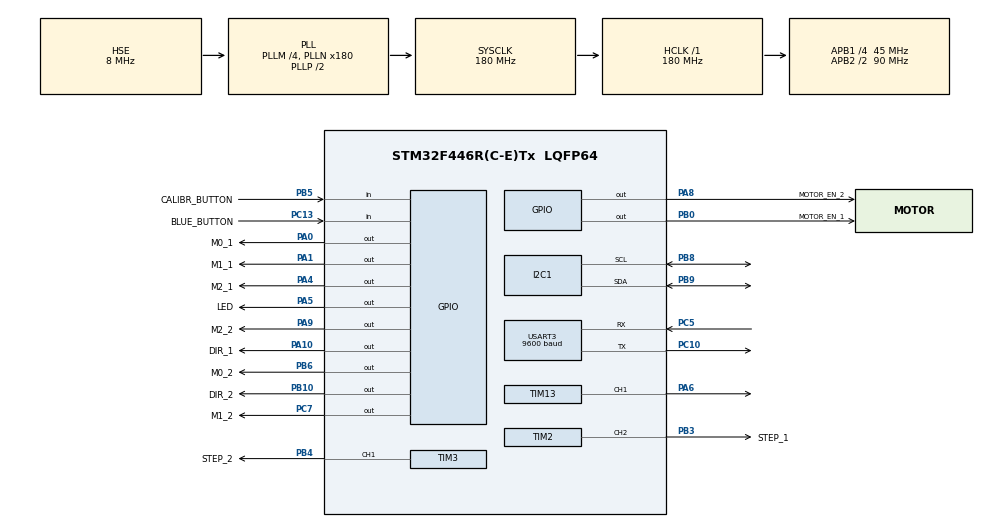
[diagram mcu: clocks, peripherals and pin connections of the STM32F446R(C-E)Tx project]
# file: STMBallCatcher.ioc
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Dma.Request0=USART3_RX
Dma.USART3_RX.0.Direction=DMA_PERIPH_TO_MEMORY
Dma.USART3_RX.0.FIFOMode=DMA_FIFOMODE_DISABLE
Dma.USART3_RX.0.Instance=DMA1_Stream1
Dma.USART3_RX.0.MemDataAlignment=DMA_MDATAALIGN_BYTE
Dma.USART3_RX.0.MemInc=DMA_MINC_ENABLE
Dma.USART3_RX.0.Mode=DMA_NORMAL
Dma.USART3_RX.0.PeriphDataAlignment=DMA_PDATAALIGN_BYTE
Dma.USART3_RX.0.PeriphInc=DMA_PINC_DISABLE
Dma.USART3_RX.0.Priority=DMA_PRIORITY_LOW
Mcu.Family=STM32F4
Mcu.Name=STM32F446R(C-E)Tx
Mcu.Package=LQFP64
Mcu.UserConstants=MOTOR_MAX_PERIOD_COUNTS,0xEFFF;MOTOR_MIN_PERIOD_COUNTS_X,0x2300;MOTOR_MIN_PERIOD_COUNTS_Y,0x4300;MOTOR_CUTSPEED_X,0x6300;MOTOR_CUTSPEED_Y,0x6300;MOTOR_KP_X,1;MOTOR_KI_X,0;MOTOR_KD_X,0;MOTOR_KP_Y,1;MOTOR_KI_Y,0;MOTOR_KD_Y,0;DUMM,0;DUMM2,0;DUMM3,0;SERVO_CLOSED,1800;SERVO_OPEN,3600
NVIC.DMA1_Stream1_IRQn=true\:0\:0\:false\:false\:true\:false
NVIC.PriorityGroup=NVIC_PRIORITYGROUP_4
NVIC.TIM2_IRQn=true\:3\:0\:true\:false\:false\:true
NVIC.TIM3_IRQn=true\:3\:0\:true\:false\:false\:true
NVIC.TIM8_TRG_COM_TIM14_IRQn=true\:3\:0\:true\:false\:false\:true
NVIC.TIM8_UP_TIM13_IRQn=true\:4\:0\:true\:false\:false\:true
NVIC.USART3_IRQn=true\:0\:0\:false\:false\:false\:true
PA0-WKUP.GPIO_Label=M0_1
PA0-WKUP.Signal=GPIO_Output
PA1.GPIO_Label=M1_1
PA1.Signal=GPIO_Output
PA10.GPIO_Label=DIR_1
PA10.Signal=GPIO_Output
PA13.Mode=Serial_Wire
PA13.Signal=SYS_JTMS-SWDIO
PA14.Mode=Serial_Wire
PA14.Signal=SYS_JTCK-SWCLK
PA4.GPIO_Label=M2_1
PA4.Signal=GPIO_Output
PA5.GPIO_Label=LED
PA5.Signal=GPIO_Output
PA6.Signal=S_TIM13_CH1
PA8.GPIO_Label=MOTOR_EN_2
PA8.Signal=GPIO_Output
PA9.GPIO_Label=M2_2
PA9.Signal=GPIO_Output
PB0.GPIO_Label=MOTOR_EN_1
PB0.Signal=GPIO_Output
PB10.GPIO_Label=DIR_2
PB10.Signal=GPIO_Output
PB3.GPIO_Label=STEP_1
PB3.GPIO_Speed=GPIO_SPEED_FREQ_VERY_HIGH
PB3.Signal=S_TIM2_CH2
PB4.GPIO_Label=STEP_2
PB4.GPIO_Speed=GPIO_SPEED_FREQ_HIGH
PB4.Signal=S_TIM3_CH1
PB5.GPIO_Label=CALIBR_BUTTON
PB5.GPIO_PuPd=GPIO_PULLUP
PB5.Signal=GPIO_Input
PB6.GPIO_Label=M0_2
PB6.Signal=GPIO_Output
PB8.Mode=I2C
PB8.Signal=I2C1_SCL
PB9.Mode=I2C
PB9.Signal=I2C1_SDA
PC10.Mode=Asynchronous
PC10.Signal=USART3_TX
PC13.GPIO_Label=BLUE_BUTTON
PC13.GPIO_PuPd=GPIO_PULLUP
PC13.Signal=GPIO_Input
PC5.Mode=Asynchronous
PC5.Signal=USART3_RX
PC7.GPIO_Label=M1_2
PC7.Signal=GPIO_Output
PH0-OSC_IN.Mode=HSE-External-Oscillator
PH0-OSC_IN.Signal=RCC_OSC_IN
PH1-OSC_OUT.Mode=HSE-External-Oscillator
PH1-OSC_OUT.Signal=RCC_OSC_OUT
ProjectManager.HeapSize=0x200
ProjectManager.StackSize=0x400
ProjectManager.TargetToolchain=SW4STM32
RCC.AHBFreq_Value=180000000
RCC.APB1CLKDivider=RCC_HCLK_DIV4
RCC.APB1Freq_Value=45000000
RCC.APB1TimFreq_Value=180000000
RCC.APB2CLKDivider=RCC_HCLK_DIV2
RCC.APB2Freq_Value=90000000
RCC.APB2TimFreq_Value=180000000
RCC.CortexFreq_Value=180000000
RCC.HCLKFreq_Value=180000000
RCC.HSE_VALUE=8000000
RCC.PLLM=4
RCC.PLLN=180
RCC.PLLSourceVirtual=RCC_PLLSOURCE_HSE
RCC.RCC_TIM_PRescaler_Selection=RCC_TIMPRES_ACTIVATED
RCC.SYSCLKFreq_VALUE=180000000
RCC.SYSCLKSource=RCC_SYSCLKSOURCE_PLLCLK
RCC.USBFreq_Value=180000000
RCC.VCOOutputFreq_Value=360000000
SH.S_TIM13_CH1.0=TIM13_CH1,PWM Generation1 CH1
SH.S_TIM2_CH2.0=TIM2_CH2,PWM Generation2 CH2
SH.S_TIM3_CH1.0=TIM3_CH1,PWM Generation1 CH1
TIM13.Channel=TIM_CHANNEL_1
TIM13.ClockDivision=TIM_CLOCKDIVISION_DIV4
TIM13.Period=36000
TIM13.Prescaler=24
TIM13.Pulse=1800
TIM14.Period=9000
TIM2.Channel-PWM\ Generation2\ CH2=TIM_CHANNEL_2
TIM2.Period=MOTOR_MAX_PERIOD_COUNTS
TIM2.Prescaler=0
TIM2.Pulse-PWM\ Generation2\ CH2=180
TIM3.Channel-PWM\ Generation1\ CH1=TIM_CHANNEL_1
TIM3.Period=MOTOR_MAX_PERIOD_COUNTS
TIM3.Pulse-PWM\ Generation1\ CH1=180
USART3.BaudRate=9600
USART3.Mode=MODE_RX
USART3.VirtualMode=VM_ASYNC
VP_TIM13_VS_ClockSourceINT.Mode=Enable_Timer
VP_TIM14_VS_ClockSourceINT.Mode=Enable_Timer
board=STMBallCatcher

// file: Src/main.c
/**
  ******************************************************************************
  * @file           : main.c
  * @brief          : Main program body
  ******************************************************************************
  ** This notice applies to any and all portions of this file
  * that are not between comment pairs USER CODE BEGIN and
  * USER CODE END. Other portions of this file, whether
  * inserted by the user or by software development tools
  * are owned by their respective copyright owners.
  *
  * COPYRIGHT(c) 2018 STMicroelectronics
  *
  * Redistribution and use in source and binary forms, with or without modification,
  * are permitted provided that the following conditions are met:
  *   1. Redistributions of source code must retain the above copyright notice,
  *      this list of conditions and the following disclaimer.
  *   2. Redistributions in binary form must reproduce the above copyright notice,
  *      this list of conditions and the following disclaimer in the documentation
  *      and/or other materials provided with the distribution.
  *   3. Neither the name of STMicroelectronics nor the names of its contributors
  *      may be used to endorse or promote products derived from this software
  *      without specific prior written permission.
  *
  * THIS SOFTWARE IS PROVIDED BY THE COPYRIGHT HOLDERS AND CONTRIBUTORS "AS IS"
  * AND ANY EXPRESS OR IMPLIED WARRANTIES, INCLUDING, BUT NOT LIMITED TO, THE
  * IMPLIED WARRANTIES OF MERCHANTABILITY AND FITNESS FOR A PARTICULAR PURPOSE ARE
  * DISCLAIMED. IN NO EVENT SHALL THE COPYRIGHT HOLDER OR CONTRIBUTORS BE LIABLE
  * FOR ANY DIRECT, INDIRECT, INCIDENTAL, SPECIAL, EXEMPLARY, OR CONSEQUENTIAL
  * DAMAGES (INCLUDING, BUT NOT LIMITED TO, PROCUREMENT OF SUBSTITUTE GOODS OR
  * SERVICES; LOSS OF USE, DATA, OR PROFITS; OR BUSINESS INTERRUPTION) HOWEVER
  * CAUSED AND ON ANY THEORY OF LIABILITY, WHETHER IN CONTRACT, STRICT LIABILITY,
  * OR TORT (INCLUDING NEGLIGENCE OR OTHERWISE) ARISING IN ANY WAY OUT OF THE USE
  * OF THIS SOFTWARE, EVEN IF ADVISED OF THE POSSIBILITY OF SUCH DAMAGE.
  *
  ******************************************************************************
  */
#include "main.h"
#include "stm32f4xx_hal.h"

/* USER CODE BEGIN Includes */
#include "ballCatcher.h"
#include "stepperControl.h"

//#define OS_USE_TRACE_SEMIHOSTING_DEBUG
/* USER CODE END Includes */

I2C_HandleTypeDef hi2c1;

TIM_HandleTypeDef htim2;
TIM_HandleTypeDef htim3;
TIM_HandleTypeDef htim13;
TIM_HandleTypeDef htim14;

UART_HandleTypeDef huart3;
DMA_HandleTypeDef hdma_usart3_rx;

/* USER CODE BEGIN PV */
/* Private variables ---------------------------------------------------------*/
extern stepper motorEjeCentral;
extern stepper motorEjeBasal;
//extern uint8_t rxBuffer[4];
//DMA_HandleTypeDef hdma_spi2_rx;
/* USER CODE END PV */

void SystemClock_Config(void);
static void MX_GPIO_Init(void);
static void MX_DMA_Init(void);
static void MX_TIM14_Init(void);
static void MX_TIM2_Init(void);
static void MX_TIM3_Init(void);
static void MX_TIM13_Init(void);
static void MX_I2C1_Init(void);
static void MX_USART3_UART_Init(void);

void HAL_TIM_MspPostInit(TIM_HandleTypeDef *htim);

/* USER CODE BEGIN PFP */
/* Private function prototypes -----------------------------------------------*/
#ifdef DEBUG
extern void initialise_monitor_handles(void);
#endif
/* USER CODE END PFP */

/* USER CODE BEGIN 0 */
void modprintf(const char* format, ...){
	#ifdef DEBUG
	va_list args;
	va_start(args, format);
	vprintf(format, args);
	va_end(args);
	#endif
}
/* USER CODE END 0 */

int main(void)
{

  /* MCU Configuration----------------------------------------------------------*/

  /* Reset of all peripherals, Initializes the Flash interface and the Systick. */
  HAL_Init();

  /* Configure the system clock */
  SystemClock_Config();

  /* Initialize all configured peripherals */
  MX_GPIO_Init();
  MX_DMA_Init();
  MX_TIM14_Init();
  MX_TIM2_Init();
  MX_TIM3_Init();
  MX_TIM13_Init();
  MX_I2C1_Init();
  MX_USART3_UART_Init();
  /* USER CODE BEGIN 2 */
  #ifdef DEBUG
  initialise_monitor_handles();
  #endif
  #ifdef MOTOR_DEBUG
  /*__HAL_TIM_SET_PRESCALER(&htim2,1000);
  __HAL_TIM_SET_PRESCALER(&htim3,1000);
  __HAL_TIM_SET_PRESCALER(&htim14,1000);
  __HAL_TIM_SET_PRESCALER(&htim13,1000);*/
  /*__HAL_TIM_SET_PRESCALER(&htim2,1);
    __HAL_TIM_SET_PRESCALER(&htim3,1);
    __HAL_TIM_SET_PRESCALER(&htim14,1);
    __HAL_TIM_SET_PRESCALER(&htim13,1);*/
  #endif
  initBallCatcher(&htim2, &htim3, &htim14, &htim13, &hi2c1, &huart3, &hdma_usart3_rx);
  /* USER CODE END 2 */

  /* Infinite loop */
  while (1)
  {

  /* USER CODE BEGIN 3 */
	  motorEjeBasal.targetPosition = 17000;
	  HAL_Delay(3000);
	  motorEjeBasal.targetPosition = 0;
	  HAL_Delay(3000);
  }
  /* USER CODE END 3 */

}

void SystemClock_Config(void)
{

  RCC_OscInitTypeDef RCC_OscInitStruct;
  RCC_ClkInitTypeDef RCC_ClkInitStruct;
  RCC_PeriphCLKInitTypeDef PeriphClkInitStruct;

    /**Configure the main internal regulator output voltage
    */
  __HAL_RCC_PWR_CLK_ENABLE();

  __HAL_PWR_VOLTAGESCALING_CONFIG(PWR_REGULATOR_VOLTAGE_SCALE1);

    /**Initializes the CPU, AHB and APB busses clocks
    */
  RCC_OscInitStruct.OscillatorType = RCC_OSCILLATORTYPE_HSE;
  RCC_OscInitStruct.HSEState = RCC_HSE_ON;
  RCC_OscInitStruct.PLL.PLLState = RCC_PLL_ON;
  RCC_OscInitStruct.PLL.PLLSource = RCC_PLLSOURCE_HSE;
  RCC_OscInitStruct.PLL.PLLM = 4;
  RCC_OscInitStruct.PLL.PLLN = 180;
  RCC_OscInitStruct.PLL.PLLP = RCC_PLLP_DIV2;
  RCC_OscInitStruct.PLL.PLLQ = 2;
  RCC_OscInitStruct.PLL.PLLR = 2;
  if (HAL_RCC_OscConfig(&RCC_OscInitStruct) != HAL_OK)
  {
    _Error_Handler(__FILE__, __LINE__);
  }

    /**Activate the Over-Drive mode
    */
  if (HAL_PWREx_EnableOverDrive() != HAL_OK)
  {
    _Error_Handler(__FILE__, __LINE__);
  }

    /**Initializes the CPU, AHB and APB busses clocks
    */
  RCC_ClkInitStruct.ClockType = RCC_CLOCKTYPE_HCLK|RCC_CLOCKTYPE_SYSCLK
                              |RCC_CLOCKTYPE_PCLK1|RCC_CLOCKTYPE_PCLK2;
  RCC_ClkInitStruct.SYSCLKSource = RCC_SYSCLKSOURCE_PLLCLK;
  RCC_ClkInitStruct.AHBCLKDivider = RCC_SYSCLK_DIV1;
  RCC_ClkInitStruct.APB1CLKDivider = RCC_HCLK_DIV4;
  RCC_ClkInitStruct.APB2CLKDivider = RCC_HCLK_DIV2;

  if (HAL_RCC_ClockConfig(&RCC_ClkInitStruct, FLASH_LATENCY_5) != HAL_OK)
  {
    _Error_Handler(__FILE__, __LINE__);
  }

  PeriphClkInitStruct.PeriphClockSelection = RCC_PERIPHCLK_TIM;
  PeriphClkInitStruct.TIMPresSelection = RCC_TIMPRES_ACTIVATED;
  if (HAL_RCCEx_PeriphCLKConfig(&PeriphClkInitStruct) != HAL_OK)
  {
    _Error_Handler(__FILE__, __LINE__);
  }

    /**Configure the Systick interrupt time
    */
  HAL_SYSTICK_Config(HAL_RCC_GetHCLKFreq()/1000);

    /**Configure the Systick
    */
  HAL_SYSTICK_CLKSourceConfig(SYSTICK_CLKSOURCE_HCLK);

  /* SysTick_IRQn interrupt configuration */
  HAL_NVIC_SetPriority(SysTick_IRQn, 0, 0);
}

/* I2C1 init function */
static void MX_I2C1_Init(void)
{

  hi2c1.Instance = I2C1;
  hi2c1.Init.ClockSpeed = 100000;
  hi2c1.Init.DutyCycle = I2C_DUTYCYCLE_2;
  hi2c1.Init.OwnAddress1 = 0;
  hi2c1.Init.AddressingMode = I2C_ADDRESSINGMODE_7BIT;
  hi2c1.Init.DualAddressMode = I2C_DUALADDRESS_DISABLE;
  hi2c1.Init.OwnAddress2 = 0;
  hi2c1.Init.GeneralCallMode = I2C_GENERALCALL_DISABLE;
  hi2c1.Init.NoStretchMode = I2C_NOSTRETCH_DISABLE;
  if (HAL_I2C_Init(&hi2c1) != HAL_OK)
  {
    _Error_Handler(__FILE__, __LINE__);
  }

}

/* TIM2 init function */
static void MX_TIM2_Init(void)
{

  TIM_MasterConfigTypeDef sMasterConfig;
  TIM_OC_InitTypeDef sConfigOC;

  htim2.Instance = TIM2;
  htim2.Init.Prescaler = 0;
  htim2.Init.CounterMode = TIM_COUNTERMODE_UP;
  htim2.Init.Period = MOTOR_MAX_PERIOD_COUNTS;
  htim2.Init.ClockDivision = TIM_CLOCKDIVISION_DIV1;
  if (HAL_TIM_PWM_Init(&htim2) != HAL_OK)
  {
    _Error_Handler(__FILE__, __LINE__);
  }

  sMasterConfig.MasterOutputTrigger = TIM_TRGO_RESET;
  sMasterConfig.MasterSlaveMode = TIM_MASTERSLAVEMODE_DISABLE;
  if (HAL_TIMEx_MasterConfigSynchronization(&htim2, &sMasterConfig) != HAL_OK)
  {
    _Error_Handler(__FILE__, __LINE__);
  }

  sConfigOC.OCMode = TIM_OCMODE_PWM1;
  sConfigOC.Pulse = 180;
  sConfigOC.OCPolarity = TIM_OCPOLARITY_HIGH;
  sConfigOC.OCFastMode = TIM_OCFAST_DISABLE;
  if (HAL_TIM_PWM_ConfigChannel(&htim2, &sConfigOC, TIM_CHANNEL_2) != HAL_OK)
  {
    _Error_Handler(__FILE__, __LINE__);
  }

  HAL_TIM_MspPostInit(&htim2);

}

/* TIM3 init function */
static void MX_TIM3_Init(void)
{

  TIM_MasterConfigTypeDef sMasterConfig;
  TIM_OC_InitTypeDef sConfigOC;

  htim3.Instance = TIM3;
  htim3.Init.Prescaler = 0;
  htim3.Init.CounterMode = TIM_COUNTERMODE_UP;
  htim3.Init.Period = MOTOR_MAX_PERIOD_COUNTS;
  htim3.Init.ClockDivision = TIM_CLOCKDIVISION_DIV1;
  if (HAL_TIM_PWM_Init(&htim3) != HAL_OK)
  {
    _Error_Handler(__FILE__, __LINE__);
  }

  sMasterConfig.MasterOutputTrigger = TIM_TRGO_RESET;
  sMasterConfig.MasterSlaveMode = TIM_MASTERSLAVEMODE_DISABLE;
  if (HAL_TIMEx_MasterConfigSynchronization(&htim3, &sMasterConfig) != HAL_OK)
  {
    _Error_Handler(__FILE__, __LINE__);
  }

  sConfigOC.OCMode = TIM_OCMODE_PWM1;
  sConfigOC.Pulse = 180;
  sConfigOC.OCPolarity = TIM_OCPOLARITY_HIGH;
  sConfigOC.OCFastMode = TIM_OCFAST_DISABLE;
  if (HAL_TIM_PWM_ConfigChannel(&htim3, &sConfigOC, TIM_CHANNEL_1) != HAL_OK)
  {
    _Error_Handler(__FILE__, __LINE__);
  }

  HAL_TIM_MspPostInit(&htim3);

}

/* TIM13 init function */
static void MX_TIM13_Init(void)
{

  TIM_OC_InitTypeDef sConfigOC;

  htim13.Instance = TIM13;
  htim13.Init.Prescaler = 24;
  htim13.Init.CounterMode = TIM_COUNTERMODE_UP;
  htim13.Init.Period = 36000;
  htim13.Init.ClockDivision = TIM_CLOCKDIVISION_DIV4;
  if (HAL_TIM_Base_Init(&htim13) != HAL_OK)
  {
    _Error_Handler(__FILE__, __LINE__);
  }

  if (HAL_TIM_PWM_Init(&htim13) != HAL_OK)
  {
    _Error_Handler(__FILE__, __LINE__);
  }

  sConfigOC.OCMode = TIM_OCMODE_PWM1;
  sConfigOC.Pulse = 1800;
  sConfigOC.OCPolarity = TIM_OCPOLARITY_HIGH;
  sConfigOC.OCFastMode = TIM_OCFAST_DISABLE;
  if (HAL_TIM_PWM_ConfigChannel(&htim13, &sConfigOC, TIM_CHANNEL_1) != HAL_OK)
  {
    _Error_Handler(__FILE__, __LINE__);
  }

  HAL_TIM_MspPostInit(&htim13);

}

/* TIM14 init function */
static void MX_TIM14_Init(void)
{

  htim14.Instance = TIM14;
  htim14.Init.Prescaler = 0;
  htim14.Init.CounterMode = TIM_COUNTERMODE_UP;
  htim14.Init.Period = 9000;
  htim14.Init.ClockDivision = TIM_CLOCKDIVISION_DIV1;
  if (HAL_TIM_Base_Init(&htim14) != HAL_OK)
  {
    _Error_Handler(__FILE__, __LINE__);
  }

}

/* USART3 init function */
static void MX_USART3_UART_Init(void)
{

  huart3.Instance = USART3;
  huart3.Init.BaudRate = 9600;
  huart3.Init.WordLength = UART_WORDLENGTH_8B;
  huart3.Init.StopBits = UART_STOPBITS_1;
  huart3.Init.Parity = UART_PARITY_NONE;
  huart3.Init.Mode = UART_MODE_RX;
  huart3.Init.HwFlowCtl = UART_HWCONTROL_NONE;
  huart3.Init.OverSampling = UART_OVERSAMPLING_16;
  if (HAL_UART_Init(&huart3) != HAL_OK)
  {
    _Error_Handler(__FILE__, __LINE__);
  }

}

static void MX_DMA_Init(void)
{
  /* DMA controller clock enable */
  __HAL_RCC_DMA1_CLK_ENABLE();

  /* DMA interrupt init */
  /* DMA1_Stream1_IRQn interrupt configuration */
  HAL_NVIC_SetPriority(DMA1_Stream1_IRQn, 0, 0);
  HAL_NVIC_EnableIRQ(DMA1_Stream1_IRQn);

}

/** Configure pins as
        * Analog
        * Input
        * Output
        * EVENT_OUT
        * EXTI
*/
static void MX_GPIO_Init(void)
{

  GPIO_InitTypeDef GPIO_InitStruct;

  /* GPIO Ports Clock Enable */
  __HAL_RCC_GPIOC_CLK_ENABLE();
  __HAL_RCC_GPIOH_CLK_ENABLE();
  __HAL_RCC_GPIOA_CLK_ENABLE();
  __HAL_RCC_GPIOB_CLK_ENABLE();

  /*Configure GPIO pin Output Level */
  HAL_GPIO_WritePin(GPIOA, M0_1_Pin|M1_1_Pin|M2_1_Pin|LED_Pin
                          |MOTOR_EN_2_Pin|M2_2_Pin|DIR_1_Pin, GPIO_PIN_RESET);

  /*Configure GPIO pin Output Level */
  HAL_GPIO_WritePin(GPIOB, MOTOR_EN_1_Pin|DIR_2_Pin|M0_2_Pin, GPIO_PIN_RESET);

  /*Configure GPIO pin Output Level */
  HAL_GPIO_WritePin(M1_2_GPIO_Port, M1_2_Pin, GPIO_PIN_RESET);

  /*Configure GPIO pin : BLUE_BUTTON_Pin */
  GPIO_InitStruct.Pin = BLUE_BUTTON_Pin;
  GPIO_InitStruct.Mode = GPIO_MODE_INPUT;
  GPIO_InitStruct.Pull = GPIO_PULLUP;
  HAL_GPIO_Init(BLUE_BUTTON_GPIO_Port, &GPIO_InitStruct);

  /*Configure GPIO pins : M0_1_Pin M1_1_Pin M2_1_Pin LED_Pin
                           MOTOR_EN_2_Pin M2_2_Pin DIR_1_Pin */
  GPIO_InitStruct.Pin = M0_1_Pin|M1_1_Pin|M2_1_Pin|LED_Pin
                          |MOTOR_EN_2_Pin|M2_2_Pin|DIR_1_Pin;
  GPIO_InitStruct.Mode = GPIO_MODE_OUTPUT_PP;
  GPIO_InitStruct.Pull = GPIO_NOPULL;
  GPIO_InitStruct.Speed = GPIO_SPEED_FREQ_LOW;
  HAL_GPIO_Init(GPIOA, &GPIO_InitStruct);

  /*Configure GPIO pins : MOTOR_EN_1_Pin DIR_2_Pin M0_2_Pin */
  GPIO_InitStruct.Pin = MOTOR_EN_1_Pin|DIR_2_Pin|M0_2_Pin;
  GPIO_InitStruct.Mode = GPIO_MODE_OUTPUT_PP;
  GPIO_InitStruct.Pull = GPIO_NOPULL;
  GPIO_InitStruct.Speed = GPIO_SPEED_FREQ_LOW;
  HAL_GPIO_Init(GPIOB, &GPIO_InitStruct);

  /*Configure GPIO pin : M1_2_Pin */
  GPIO_InitStruct.Pin = M1_2_Pin;
  GPIO_InitStruct.Mode = GPIO_MODE_OUTPUT_PP;
  GPIO_InitStruct.Pull = GPIO_NOPULL;
  GPIO_InitStruct.Speed = GPIO_SPEED_FREQ_LOW;
  HAL_GPIO_Init(M1_2_GPIO_Port, &GPIO_InitStruct);

  /*Configure GPIO pin : CALIBR_BUTTON_Pin */
  GPIO_InitStruct.Pin = CALIBR_BUTTON_Pin;
  GPIO_InitStruct.Mode = GPIO_MODE_INPUT;
  GPIO_InitStruct.Pull = GPIO_PULLUP;
  HAL_GPIO_Init(CALIBR_BUTTON_GPIO_Port, &GPIO_InitStruct);

}

/* USER CODE BEGIN 4 */
void TIM2_IRQHandler(void)
{
  if (__HAL_TIM_GET_FLAG(&htim2, TIM_FLAG_UPDATE))
  {
    if (__HAL_TIM_GET_ITSTATUS(&htim2, TIM_IT_UPDATE))
    {
      //HAL_GPIO_WritePin(GPIOB, GPIO_PIN_10, GPIO_PIN_SET);
      __HAL_TIM_CLEAR_FLAG(&htim2, TIM_FLAG_UPDATE);
      Stepper_PulseUpdate(&motorEjeBasal);
      //HAL_GPIO_WritePin(GPIOB, GPIO_PIN_10, GPIO_PIN_RESET);
    }
  }
}

void TIM3_IRQHandler(void)
{
	if (__HAL_TIM_GET_FLAG(&htim3, TIM_FLAG_UPDATE))
	{
		if (__HAL_TIM_GET_ITSTATUS(&htim3, TIM_IT_UPDATE))
		{
			//HAL_GPIO_WritePin(GPIOB, GPIO_PIN_10, GPIO_PIN_SET);
			__HAL_TIM_CLEAR_FLAG(&htim3, TIM_FLAG_UPDATE);
			#ifndef BASE_MOTOR_ONLY
			Stepper_PulseUpdate(&motorEjeCentral);
			#endif
			//HAL_GPIO_WritePin(GPIOB, GPIO_PIN_10, GPIO_PIN_RESET);
		}
	}
}

void TIM8_TRG_COM_TIM14_IRQHandler(void){
	if (__HAL_TIM_GET_FLAG(&htim14, TIM_FLAG_UPDATE)){
		if (__HAL_TIM_GET_ITSTATUS(&htim14, TIM_IT_UPDATE)){
			//HAL_GPIO_TogglePin(GPIOA, LED_Pin);
			Stepper_Controller(&motorEjeBasal);
			#ifndef BASE_MOTOR_ONLY
			Stepper_Controller(&motorEjeCentral);
			#endif
			__HAL_TIM_CLEAR_FLAG(&htim14, TIM_FLAG_UPDATE);
			//Stepper_ExecuteAllControllers();
			//Serial_CheckRxTimeout();
		}
	}
}

void TIM8_UP_TIM13_IRQHandler(void){
	if (__HAL_TIM_GET_FLAG(&htim13, TIM_FLAG_UPDATE)){
		if (__HAL_TIM_GET_ITSTATUS(&htim13, TIM_IT_UPDATE)){
			//HAL_GPIO_TogglePin(GPIOA, LED_Pin);
			BallCatcher_Controller(&motorEjeBasal, &motorEjeCentral);
			__HAL_TIM_CLEAR_FLAG(&htim13, TIM_FLAG_UPDATE);
			//Serial_CheckRxTim0eout();
		}
	}
}
/*
void USART1_IRQHandler(void)
    {
      if(USART_GetITStatus(USART1, USART_IT_RXNE) != RESET)//enter interrupt when STM32 receice data.
      {
         USART_ClearITPendingBit(USART1, USART_IT_RXNE);
         USART_Temp_Data = (unsigned char) USART_ReceiveData(USART1); //receive a char
      }
    }*/
/* USER CODE END 4 */

void _Error_Handler(char *file, int line)
{
  while(1)
  {
  }
}

/************************ (C) COPYRIGHT STMicroelectronics *****END OF FILE****/
